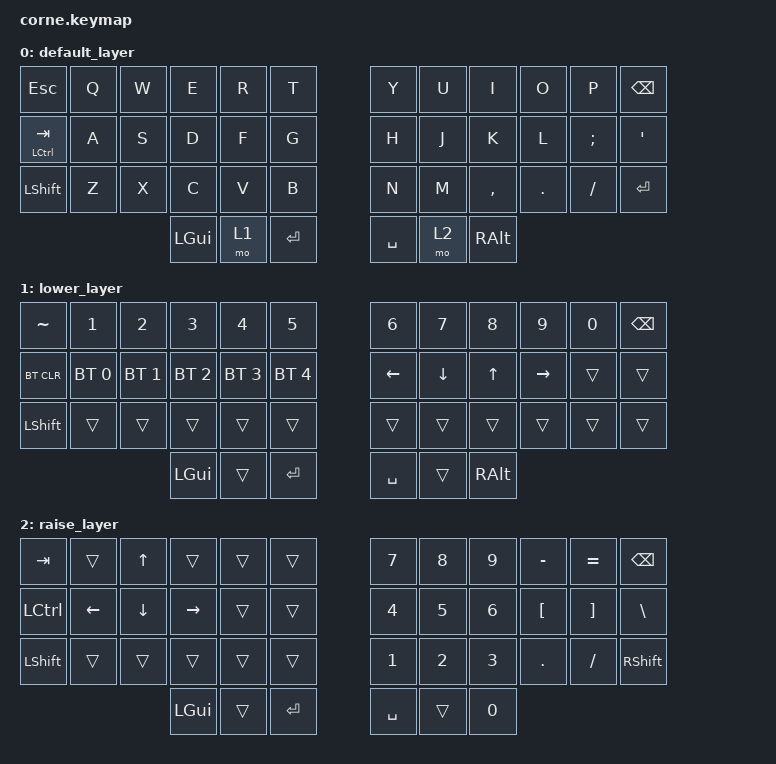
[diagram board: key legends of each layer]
/*
 * Copyright (c) 2020 The ZMK Contributors
 *
 * SPDX-License-Identifier: MIT
 */

#include <behaviors.dtsi>
#include <dt-bindings/zmk/keys.h>
#include <dt-bindings/zmk/bt.h>

/ {
        keymap {
                compatible = "zmk,keymap";

                default_layer {
// -----------------------------------------------------------------------------------------
// |  ESC |  Q  |  W  |  E  |  R  |  T  |   |  Y  |  U   |  I  |  O  |  P  | BKSP |
// | CTRL |  A  |  S  |  D  |  F  |  G  |   |  H  |  J   |  K  |  L  |  ;  |  '   |
// | SHFT |  Z  |  X  |  C  |  V  |  B  |   |  N  |  M   |  ,  |  .  |  /  | RET  |
//                    | GUI | LWR | SPC |   | ENT | RSE  | ALT |
                        bindings = <
   &kp ESC   &kp Q &kp W &kp E &kp R &kp T   &kp Y &kp U  &kp I     &kp O   &kp P    &kp BSPC
   &mt LCTRL TAB &kp A &kp S &kp D &kp F &kp G   &kp H &kp J  &kp K     &kp L   &kp SEMI &kp SQT
   &kp LSHFT &kp Z &kp X &kp C &kp V &kp B   &kp N &kp M  &kp COMMA &kp DOT &kp FSLH &kp RET
                  &kp LGUI &mo 1 &kp RET     &kp SPACE &mo 2 &kp RALT
                        >;
                };
                lower_layer {
// -----------------------------------------------------------------------------------------
// |   ~  |  1  |  2  |  3  |  4  |  5  |   |  6  |  7  |  8  |  9  |  0  | BKSP |
// | BTCLR| BT1 | BT2 | BT3 | BT4 | BT5 |   | LFT | DWN |  UP | RGT |     |      |
// | SHFT |     |     |     |     |     |   |     |     |     |     |     |      |
//                    | GUI |     | SPC |   | ENT |     | ALT |
                        bindings = <
   &kp TILDE  &kp N1       &kp N2       &kp N3       &kp N4       &kp N5         &kp N6   &kp N7   &kp N8 &kp N9    &kp N0 &kp BSPC
   &bt BT_CLR &bt BT_SEL 0 &bt BT_SEL 1 &bt BT_SEL 2 &bt BT_SEL 3 &bt BT_SEL 4   &kp LEFT &kp DOWN &kp UP &kp RIGHT &trans &trans
   &kp LSHFT  &trans       &trans       &trans       &trans       &trans         &trans   &trans   &trans &trans    &trans &trans
                                   &kp LGUI &trans   &kp RET      &kp SPACE &trans    &kp RALT
                        >;
                };

                raise_layer {
// -----------------------------------------------------------------------------------------
// |  TAB |     | UP  |     |     |     |   |  7  |  8  |  9  |  -  |  =  | BKSP |
// | CTRL | LFT | DWN | RGT |     |     |   |  4  |  5  |  6  |  [  |  ]  |  \   |
// | SHFT |     |     |     |     |     |   |  1  |  2  |  3  |  .  |  /  | SHFT |
//                    | GUI |     | ENT |   | SPC |     |  0  |
                        bindings = <
   &kp  TAB  &trans   &kp  UP  &trans    &trans &trans      &kp N7 &kp N8 &kp N9 &kp MINUS &kp EQUAL &kp BSPC
   &kp LCTRL &kp LEFT &kp DOWN &kp RIGHT &trans &trans      &kp N4 &kp N5 &kp N6 &kp LBKT  &kp RBKT  &kp BSLH
   &kp LSHFT &trans   &trans   &trans    &trans &trans      &kp N1 &kp N2 &kp N3 &kp DOT   &kp FSLH  &kp RSHFT
                               &kp LGUI  &trans &kp RET     &kp SPACE   &trans   &kp N0
                        >;
                };
        };
};
